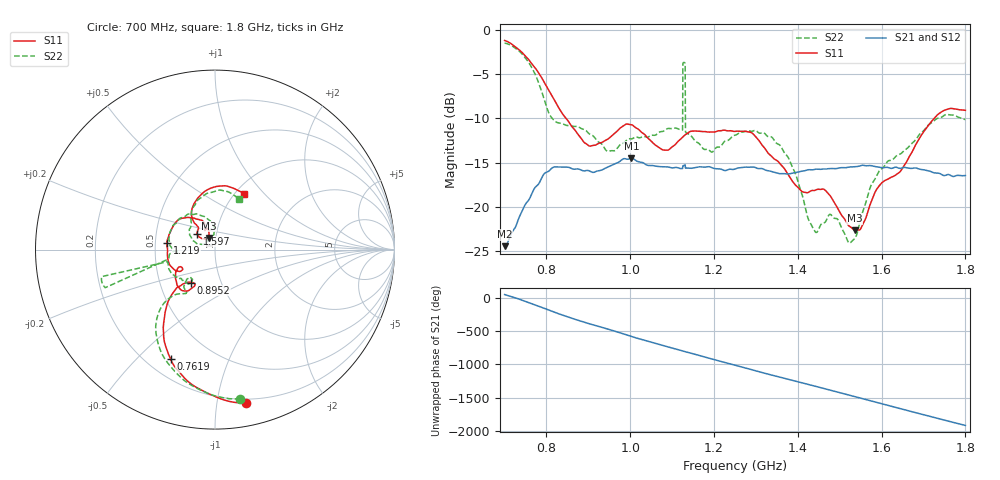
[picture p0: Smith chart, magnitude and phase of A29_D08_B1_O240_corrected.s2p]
! Created with skrf 1.9.0 (http://scikit-rf.org).
# Hz S RI R 50.0
!freq ReS11 ImS11 ReS21 ImS21 ReS12 ImS12 ReS22 ImS22
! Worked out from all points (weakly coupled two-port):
!   1601 points, 700 MHz to 1.8 GHz, reference 50 ohm
!   highest |S21| = -14.53 dB at 1.002 GHz (marker M1); lowest = -24.5 dB at 700 MHz (marker M2)
!   lowest |S11| = -22.7 dB at 1.536 GHz (marker M3), VSWR 1.16, Z = 46.2 + j5.98 ohm
!   |S11| at or under -10 dB: 846.9 MHz to 1.725 GHz (878.5 MHz wide, 68.3 % of centre)
!   |S22| runs from -24.1 to -1.5 dB; largest |S21 - S12| = 0.0036
!   S11 on the Smith chart (normalised r, x): 700 MHz: 0.17, -1.21; 761.9 MHz: 0.29, -0.63; 895.2 MHz: 0.72, -0.28; 1.219 GHz: 0.58, +0.04; 1.597 GHz: 0.81, +0.15; 1.8 GHz: 1.10, +0.78
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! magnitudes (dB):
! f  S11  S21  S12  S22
! 700 MHz  -1.2  -24.5  -24.2  -1.5
! 761.9 MHz  -3.6  -18.9  -18.8  -4.0
! 813.4 MHz  -7.5  -15.6  -15.6  -10.0
! 883.6 MHz  -12.3  -15.9  -15.8  -11.2
! 895.2 MHz  -12.9  -15.9  -16.0  -11.4
! 946.8 MHz  -12.3  -15.5  -15.5  -13.7
! 1.002 GHz  -10.7  -14.5  -14.6  -12.3
! 1.067 GHz  -13.3  -15.5  -15.4  -11.6
! 1.119 GHz  -12.4  -15.7  -15.6  -11.3
! 1.126 GHz  -12.1  -15.4  -15.4  -3.8
! 1.131 GHz  -11.9  -15.3  -15.3  -3.8
! 1.137 GHz  -11.7  -15.6  -15.6  -11.7
! 1.219 GHz  -11.4  -15.8  -15.8  -13.0
! 1.25 GHz  -11.5  -15.7  -15.7  -11.9
! 1.358 GHz  -15.2  -16.3  -16.2  -13.1
! 1.434 GHz  -18.2  -15.8  -15.8  -22.2
! 1.478 GHz  -18.8  -15.7  -15.7  -20.9
! 1.536 GHz  -22.7  -15.5  -15.5  -23.6
! 1.597 GHz  -17.5  -15.6  -15.5  -15.8
! 1.617 GHz  -16.8  -15.6  -15.6  -14.8
! 1.734 GHz  -9.6  -16.2  -16.2  -10.0
! 1.8 GHz  -9.1  -16.5  -16.5  -10.1
